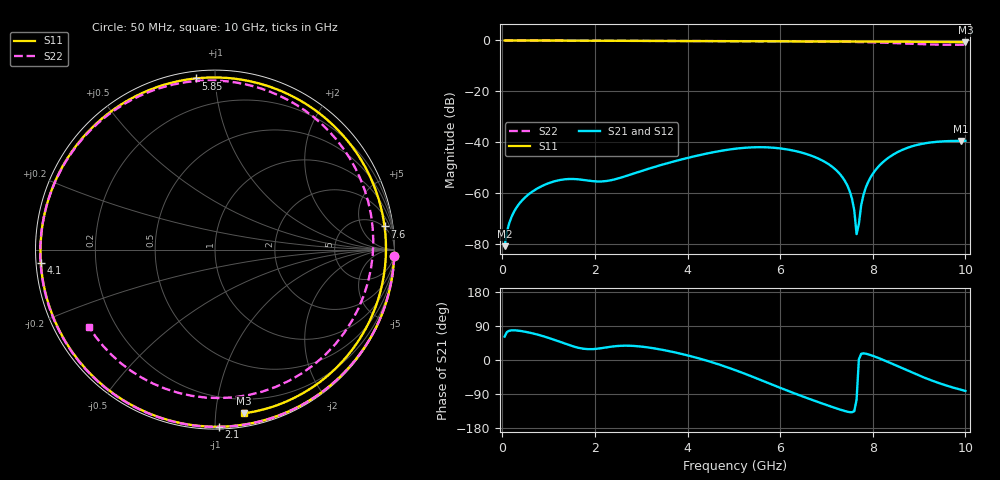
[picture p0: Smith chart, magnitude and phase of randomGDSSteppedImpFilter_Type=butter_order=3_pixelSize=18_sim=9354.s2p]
! freq	dB(S11)	phase(S11)	dB(S12)	phase(S12)
!  dB(S21)	phase(S21)	dB(S22)	phase(S22)
!S-par simulation data
#  GHz  S  DB  R 50
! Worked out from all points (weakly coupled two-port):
!   200 points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, 50 MHz to 10 GHz, reference 50 ohm
!   highest |S21| = -39.53 dB at 9.9 GHz (marker M1); lowest = -81.0 dB at 50 MHz (marker M2)
!   lowest |S11| = -0.7 dB at 10 GHz (marker M3), VSWR 26.11, Z = 4.63 - j59.5 ohm
!   |S11| at or under -10 dB: nowhere
!   |S22| runs from -1.7 to 0.0 dB; largest |S21 - S12| = 0
!   S11 on the Smith chart (normalised r, x): 50 MHz: 1, -52; 2.1 GHz: 0.01, -1.02; 4.1 GHz: 0.01, -0.04; 5.85 GHz: 0.04, +0.89; 7.6 GHz: 5, +13; 10 GHz: 0.09, -1.19
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0.05  -0.01 -2.2  -80.96 61.8  -80.96 61.8  -0.00 -2.2
0.2  -0.01 -8.6  -69.43 78.2  -69.43 78.2  -0.01 -8.5
0.55  -0.03 -23.6  -60.84 73.2  -60.84 73.2  -0.03 -23.2
1.15  -0.06 -49.0  -55.32 52.1  -55.32 52.1  -0.06 -47.7
1.75  -0.09 -74.2  -54.89 29.8  -54.89 29.8  -0.09 -70.9
2.1  -0.11 -88.8  -55.51 30.5  -55.51 30.5  -0.10 -83.7
3.4  -0.19 -144.1  -49.17 28.2  -49.17 28.2  -0.15 -127.6
4.1  -0.24 -175.6  -45.80 9.1  -45.80 9.1  -0.18 -149.4
5.05  -0.31 138.3  -42.57 -27.6  -42.57 -27.6  -0.23 -178.9
5.85  -0.36 96.5  -42.21 -66.0  -42.21 -66.0  -0.29 154.7
6.7  -0.39 51.6  -45.53 -105.8  -45.53 -105.8  -0.39 122.2
7.35  -0.41 19.4  -53.96 -133.0  -53.96 -133.0  -0.51 91.1
7.6  -0.41 7.8  -66.80 -135.1  -66.80 -135.1  -0.58 76.8
7.65  -0.42 5.5  -76.21 -105.1  -76.21 -105.1  -0.60 73.7
7.8  -0.42 -1.2  -60.71 17.5  -60.71 17.5  -0.65 64.0
7.9  -0.43 -5.5  -55.72 15.1  -55.72 15.1  -0.70 57.1
8.35  -0.46 -24.0  -46.00 -6.3  -46.00 -6.3  -0.94 21.6
8.75  -0.49 -39.2  -42.25 -27.8  -42.25 -27.8  -1.23 -17.0
9.2  -0.54 -54.8  -40.27 -50.7  -40.27 -50.7  -1.55 -66.0
9.5  -0.58 -64.6  -39.73 -63.8  -39.73 -63.8  -1.67 -99.0
9.9  -0.65 -76.9  -39.53 -78.4  -39.53 -78.4  -1.70 -139.3
10  -0.67 -79.9  -39.54 -81.6  -39.54 -81.6  -1.68 -148.5
